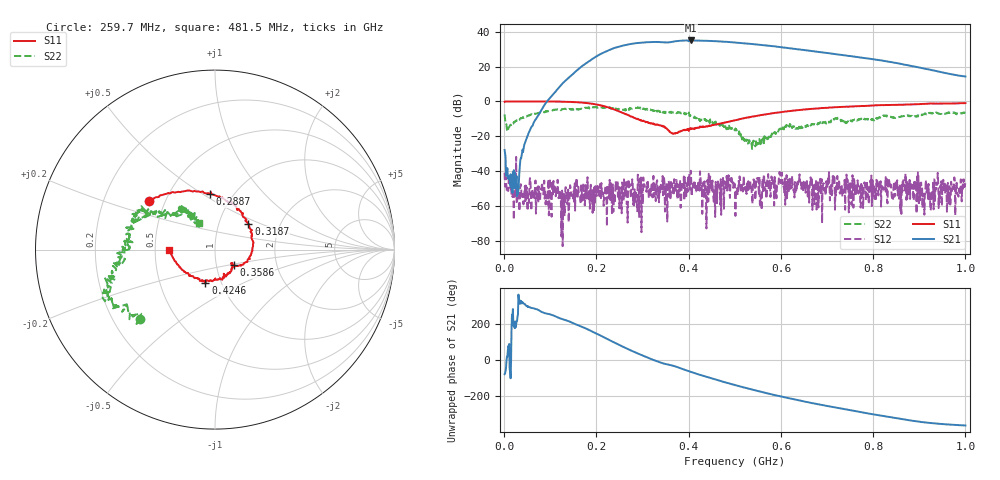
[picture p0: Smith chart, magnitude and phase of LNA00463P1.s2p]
! Created with skrf 1.9.0 (http://scikit-rf.org).
# Hz S RI R 50.0
!freq ReS11 ImS11 ReS21 ImS21 ReS12 ImS12 ReS22 ImS22
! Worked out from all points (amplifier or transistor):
!   1001 points, 1 MHz to 1 GHz, reference 50 ohm
!   highest |S21| = 35.0 dB at 404.6 MHz (marker M1)
!   |S21| within 3 dB of that: 256.5 MHz to 572.1 MHz (315.6 MHz wide, 76.2 % of centre)
!   unconditionally stable (mu >= 1): 6.53 MHz to 67.65 MHz; 296.8 MHz to 404.5 MHz; 404.7 MHz to end of sweep (the widest 3 of 35)
!   at 166.8 MHz: K = 1.61, MAG = 29.4 dB, |S12| = -48.1 dB
!   at 500.5 MHz: K = 2.79, MAG = 34.3 dB, |S12| = -49.4 dB
!   at 1 GHz: K = 3.01, MAG = 22.8 dB, |S12| = -46.6 dB
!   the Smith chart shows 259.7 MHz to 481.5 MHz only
!   S11 on the Smith chart (normalised r, x): 259.7 MHz: 0.41, +0.28; 288.7 MHz: 0.79, +0.54; 318.7 MHz: 1.39, +0.42; 358.6 MHz: 1.21, -0.21; 424.6 MHz: 0.84, -0.32; 481.5 MHz: 0.59, -0.00
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1000000  0.9761 0.00471  0.00749 -0.0398  -0.00892 0.00131  0.3225 0.2811
1.08892e8  0.5284 -0.842  -0.8161 -1.566  -0.00304 -3.28e-05  0.4297 -0.372
1.67833e8  -0.2155 -0.9055  -10.06 -0.5703  -0.000303 0.00296  0.0339 -0.6253
2.15785e8  -0.6725 -0.3015  -14.65 20.63  0.000921 0.000437  -0.2231 -0.6315
2.4076e8  -0.5672 0.0851  -1.964 34.75  0.000864 -0.00193  -0.3344 -0.5351
2.59741e8  -0.3686 0.2713  14.21 38.07  -0.00561 -0.00155  -0.4187 -0.3855
2.88712e8  -0.0265 0.3089  38.54 28.04  0.000425 0.000565  -0.6177 -0.2222
3.18682e8  0.1866 0.1425  50.75 3.927  -0.000255 0.00288  -0.5505 -0.108
3.34666e8  0.2124 0.0204  49.87 -9.893  -0.00336 0.00019  -0.5238 -0.0177
3.58642e8  0.1041 -0.0861  44.02 -23.79  -0.000665 -0.00175  -0.465 0.1198
3.77623e8  0.0976 -0.0873  40.3 -36.74  -0.000512 0.00154  -0.4357 0.2041
4.04596e8  0.0406 -0.1681  22.22 -51.74  -2.27e-05 0.0103  -0.3114 0.222
4.24576e8  -0.0534 -0.1846  6.817 -55.07  -0.00053 0.00988  -0.1865 0.1958
4.5055e8  -0.1644 -0.1261  -12.62 -53.04  0.00257 0.00108  -0.1495 0.2193
4.81519e8  -0.2545 -0.00172  -30.49 -41.38  0.00426 -0.000326  -0.0892 0.149
5.005e8  -0.2716 0.0956  -37.7 -31.88  0.00207 -0.00268  -0.0959 0.1126
5.4046e8  -0.2257 0.2985  -42.78 -10.43  0.00558 0.00149  -0.0724 0.02
5.88412e8  -0.0474 0.467  -36.3 10.4  -0.000979 -0.0016  -0.1045 -0.0528
6.67333e8  0.3216 0.5239  -14.28 23.81  0.000444 -0.00623  -0.2225 -0.032
7.53247e8  0.6208 0.364  3.361 19.51  1.56e-05 -0.00107  -0.2703 0.0421
8.34166e8  0.7786 0.1367  9.89 9.632  -0.00552 0.000604  -0.3769 0.0673
1e9  0.809 -0.39  5.196 -0.2559  -0.00469 -0.000121  -0.2577 0.4014
